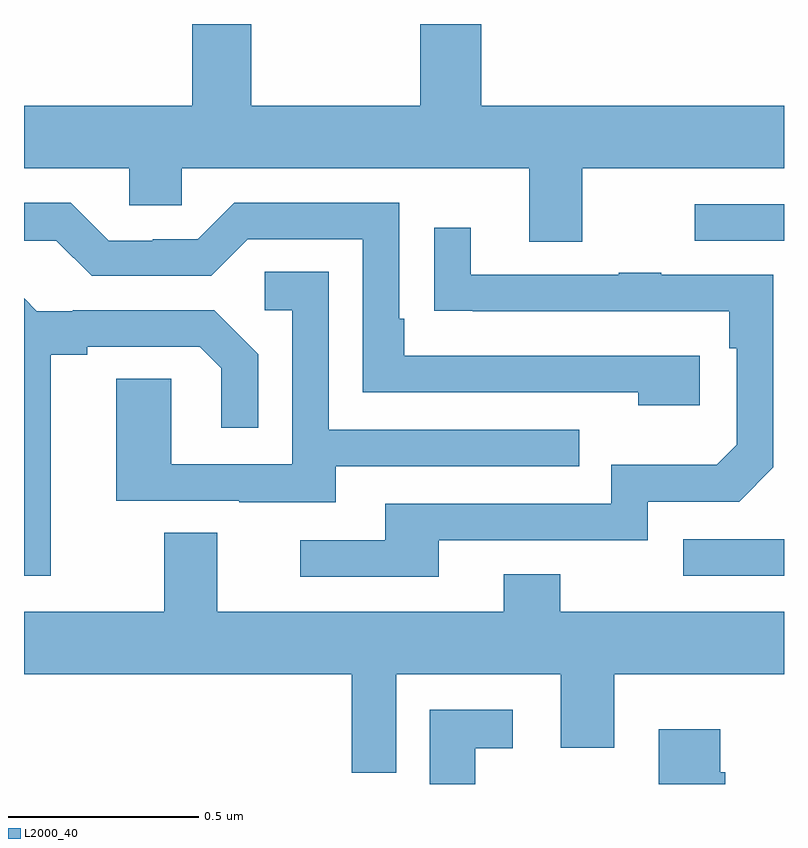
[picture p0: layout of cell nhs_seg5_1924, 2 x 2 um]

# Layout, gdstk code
import gdstk
lib = gdstk.Library(unit=1e-6, precision=1e-09)
def R(c, l, rs):  # rectangles x0, y0, x1, y1
    for r in rs: c.add(gdstk.rectangle(r[:2], r[2:], *l))
def P(c, l, *ps):  # polygons
    for p in ps: c.add(gdstk.Polygon(p, *l))
L2000_40 = (2000, 40)

nhs_seg5_1924 = lib.new_cell('nhs_seg5_1924')
R(nhs_seg5_1924, L2000_40, [(138.735,862.347,139,862.443), (138.765,863.229,139,863.325)])
P(nhs_seg5_1924, L2000_40, [(138.469,863.42),(139,863.42),(139,863.584),(138.203,863.584),(138.203,863.799),(138.043,863.799),(138.043,863.584),(137.598,863.584),(137.598,863.799),(137.443,863.799),(137.443,863.584),(137,863.584),(137,863.42),(137.277,863.42),(137.277,863.322),(137.415,863.322),(137.415,863.42),(138.329,863.42),(138.329,863.226),(138.469,863.226)],
  [(138.778,862.926),(138.001,862.926),(138.001,863.023),(137.988,863.023),(137.988,863.328),(137.553,863.328),(137.457,863.232),(137.339,863.232),(137.339,863.229),(137.223,863.229),(137.123,863.329),(137,863.329),(137,863.229),(137.085,863.229),(137.178,863.136),(137.493,863.136),(137.589,863.232),(137.892,863.232),(137.892,862.83),(138.617,862.83),(138.617,862.796),(138.778,862.796)],
  [(138.091,862.44),(138.642,862.44),(138.642,862.542),(138.882,862.542),(138.972,862.632),(138.972,863.139),(138.677,863.139),(138.677,863.144),(138.565,863.144),(138.565,863.139),(138.175,863.139),(138.175,863.263),(138.079,863.263),(138.079,863.044),(138.181,863.044),(138.181,863.043),(138.856,863.043),(138.856,862.946),(138.876,862.946),(138.876,862.692),(138.823,862.639),(138.546,862.639),(138.546,862.536),(137.951,862.536),(137.951,862.44),(137.727,862.44),(137.727,862.344),(138.091,862.344)],
  [(137.821,862.635),(138.461,862.635),(138.461,862.731),(137.802,862.731),(137.802,863.147),(137.634,863.147),(137.634,863.046),(137.706,863.046),(137.706,862.641),(137.388,862.641),(137.388,862.865),(137.243,862.865),(137.243,862.545),(137.567,862.545),(137.567,862.541),(137.821,862.541)],
  [(137.071,862.928),(137.167,862.928),(137.167,862.95),(137.462,862.95),(137.519,862.893),(137.519,862.737),(137.616,862.737),(137.616,862.93),(137.5,863.046),(137.128,863.046),(137.128,863.043),(137.034,863.043),(137,863.077),(137,862.347),(137.071,862.347)],
  [(137.979,862.088),(138.413,862.088),(138.413,861.894),(138.553,861.894),(138.553,862.088),(139,862.088),(139,862.252),(138.411,862.252),(138.411,862.351),(138.263,862.351),(138.263,862.252),(137.509,862.252),(137.509,862.46),(137.369,862.46),(137.369,862.252),(137,862.252),(137,862.088),(137.863,862.088),(137.863,861.828),(137.979,861.828)],
  [(138.187,861.893),(138.286,861.893),(138.286,861.994),(138.068,861.994),(138.068,861.799),(138.187,861.799)],
  [(138.845,861.83),(138.832,861.83),(138.832,861.943),(138.671,861.943),(138.671,861.799),(138.845,861.799)])

lib.write_gds('nhs_seg5_1924.gds')
